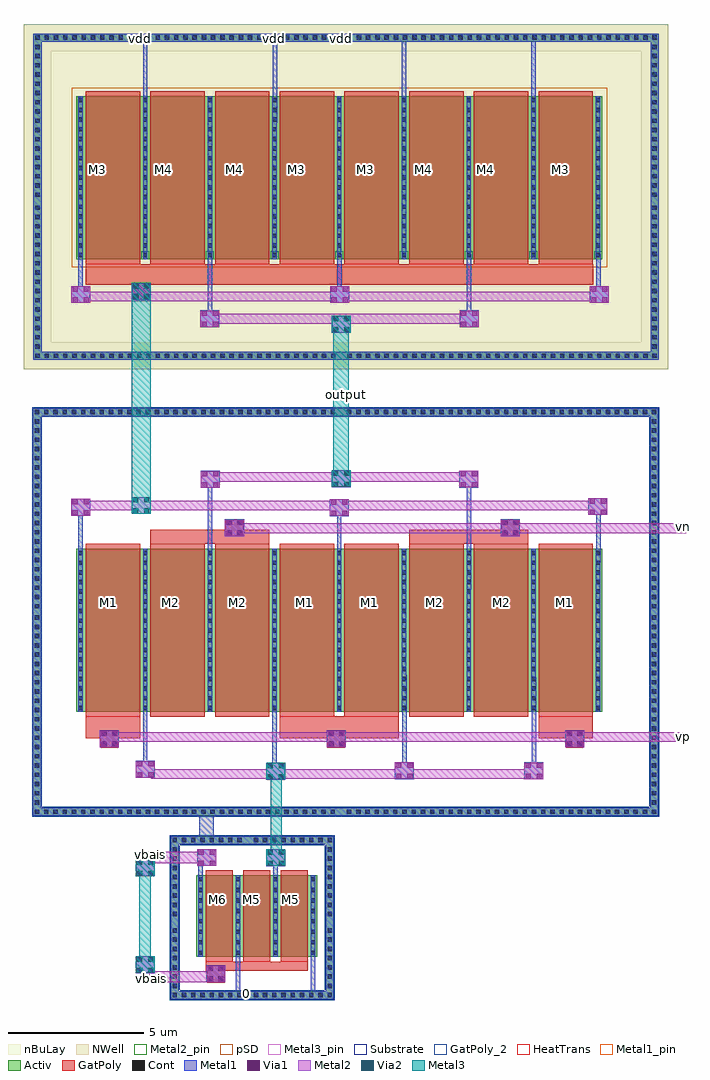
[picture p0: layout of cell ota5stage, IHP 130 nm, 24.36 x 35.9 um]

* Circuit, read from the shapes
.subckt ota5stage 0 output vbais vdd vn vp
XM1 n1 vp n2 0 sg13_lv_nmos w=6u l=2u m=4
XM2 output vn n1 0 sg13_lv_nmos w=6u l=2u m=4
XM3 0 vbais vbais 0 sg13_lv_nmos w=3u l=1u
XM4 n1 vbais 0 0 sg13_lv_nmos w=3u l=1u m=2
XM5 vdd n2 n2 vdd sg13_lv_pmos w=6u l=2u m=4
XM6 output n2 vdd vdd sg13_lv_pmos w=6u l=2u m=4
.ends

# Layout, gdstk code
import gdstk
lib = gdstk.Library(unit=1e-6, precision=1e-09)
def R(c, l, rs):  # rectangles x0, y0, x1, y1
    for r in rs: c.add(gdstk.rectangle(r[:2], r[2:], *l))
def A(c, l, x, y, w, h, nx, ny, dx, dy):  # array of equal rectangles
    R(c, l, [(x+i*dx, y+j*dy, x+i*dx+w, y+j*dy+h) for i in range(nx) for j in range(ny)])
def P(c, l, *ps):  # polygons
    for p in ps: c.add(gdstk.Polygon(p, *l))
Activ = (1, 0)
GatPoly = (5, 0)
GatPoly_2 = (5, 2)
Cont = (6, 0)
Metal1 = (8, 0)
Metal1_pin = (8, 2)
Metal2 = (10, 0)
Metal2_pin = (10, 2)
pSD = (14, 0)
Via1 = (19, 0)
Via2 = (29, 0)
Metal3 = (30, 0)
Metal3_pin = (30, 2)
NWell = (31, 0)
nBuLay = (32, 0)
Substrate = (40, 0)
HeatTrans = (51, 0)

pmos = lib.new_cell('pmos')
R(pmos, Activ, [(0,0,0.3,0.3), (0,0,2.68,6), (2.38,0,2.68,0.3)])
R(pmos, GatPoly, [(0.34,-0.18,2.34,6.18), (0.34,-0.18,2.34,6.18)])
A(pmos, Cont, 0.07, 0.07, 0.16, 0.16, 1, 4, 0, 0.355)
A(pmos, Cont, 2.45, 0.07, 0.16, 0.16, 1, 4, 0, 0.355)
A(pmos, Cont, 0.07, 1.495, 0.16, 0.16, 1, 4, 0, 0.355)
A(pmos, Cont, 2.45, 1.495, 0.16, 0.16, 1, 4, 0, 0.355)
A(pmos, Cont, 0.07, 2.92, 0.16, 0.16, 1, 4, 0, 0.355)
A(pmos, Cont, 2.45, 2.92, 0.16, 0.16, 1, 4, 0, 0.355)
A(pmos, Cont, 0.07, 4.345, 0.16, 0.16, 1, 4, 0, 0.355)
A(pmos, Cont, 2.45, 4.345, 0.16, 0.16, 1, 4, 0, 0.355)
R(pmos, Cont, [(0.07,5.77,0.23,5.93), (2.45,5.77,2.61,5.93)])
R(pmos, Metal1, [(0.07,0,0.23,6), (0.07,0,0.23,6), (2.45,0,2.61,6), (2.45,0,2.61,6)])
R(pmos, pSD, [(-0.18,-0.3,2.86,6.3)])
R(pmos, NWell, [(-0.31,-0.31,2.99,6.31)])
R(pmos, Substrate, [(2.38,0,2.68,0.3)])
R(pmos, HeatTrans, [(0.34,-0.18,2.34,6.18)])
pmos.add(gdstk.Label('pmos', (1.34,3), layer=63, texttype=0))
pmos.add(gdstk.Label('pmos', (1.34,3), layer=51, texttype=0))

guard_ring_2 = lib.new_cell('guard_ring$2')
R(guard_ring_2, Activ, [(-11.5,-5.7,-11.2,5.7), (11.2,-5.7,11.5,5.7), (-11.5,5.7,11.5,6)])
P(guard_ring_2, Activ, [(-11.5,-6),(-11.5,5.7),(-11.2,5.7),(-11.2,-5.7),(11.2,-5.7),(11.2,5.7),(-11.5,5.7),(-11.5,6),(11.5,6),(11.5,-6)])
A(guard_ring_2, Cont, -11.43, -5.93, 0.16, 0.16, 33, 2, 0.34, 11.7)
A(guard_ring_2, Cont, 0.05, -5.93, 0.16, 0.16, 34, 2, 0.34, 11.7)
A(guard_ring_2, Cont, -11.43, -5.59, 0.16, 0.16, 1, 16, 0, 0.34)
A(guard_ring_2, Cont, 11.27, -5.59, 0.16, 0.16, 1, 16, 0, 0.34)
A(guard_ring_2, Cont, -11.43, -0.01, 0.16, 0.16, 1, 17, 0, 0.34)
A(guard_ring_2, Cont, 11.27, -0.01, 0.16, 0.16, 1, 17, 0, 0.34)
R(guard_ring_2, Metal1, [(-11.5,-6,11.5,-5.7), (-11.5,-5.7,-11.2,5.7), (11.2,-5.7,11.5,5.7), (-11.5,5.7,11.5,6)])
R(guard_ring_2, NWell, [(-11.85,-6.35,11.85,6.35)])
R(guard_ring_2, nBuLay, [(-11.85,-5.35,-10.85,5.35), (10.85,-5.35,11.85,5.35), (-11.85,5.35,11.85,6.35)])
P(guard_ring_2, nBuLay, [(-11.85,-6.35),(-11.85,5.35),(-10.85,5.35),(-10.85,-5.35),(10.85,-5.35),(10.85,5.35),(-11.85,5.35),(-11.85,6.35),(11.85,6.35),(11.85,-6.35)])
guard_ring_2.add(gdstk.Label('well', (0,-5.85), layer=63, texttype=0))

via_stack = lib.new_cell('via_stack')
R(via_stack, Metal1, [(-0.35,-0.31,0.35,0.31)])
R(via_stack, Metal2, [(-0.35,-0.305,0.35,0.305)])
R(via_stack, Via1, [(-0.3,-0.3,-0.11,-0.11), (0.11,-0.3,0.3,-0.11), (-0.3,0.11,-0.11,0.3), (0.11,0.11,0.3,0.3)])

nmos = lib.new_cell('nmos')
R(nmos, Activ, [(0,0,0.3,0.3), (0,0,2.68,6), (2.38,0,2.68,0.3)])
R(nmos, GatPoly, [(0.34,-0.18,2.34,6.18)])
R(nmos, GatPoly_2, [(0.34,-0.18,2.34,6.18)])
A(nmos, Cont, 0.07, 0.07, 0.16, 0.16, 1, 4, 0, 0.355)
A(nmos, Cont, 2.45, 0.07, 0.16, 0.16, 1, 4, 0, 0.355)
A(nmos, Cont, 0.07, 1.495, 0.16, 0.16, 1, 4, 0, 0.355)
A(nmos, Cont, 2.45, 1.495, 0.16, 0.16, 1, 4, 0, 0.355)
A(nmos, Cont, 0.07, 2.92, 0.16, 0.16, 1, 4, 0, 0.355)
A(nmos, Cont, 2.45, 2.92, 0.16, 0.16, 1, 4, 0, 0.355)
A(nmos, Cont, 0.07, 4.345, 0.16, 0.16, 1, 4, 0, 0.355)
A(nmos, Cont, 2.45, 4.345, 0.16, 0.16, 1, 4, 0, 0.355)
R(nmos, Cont, [(0.07,5.77,0.23,5.93), (2.45,5.77,2.61,5.93)])
R(nmos, Metal1, [(0.07,0,0.23,6), (2.45,0,2.61,6)])
R(nmos, Metal1_pin, [(0.07,0,0.23,6), (2.45,0,2.61,6)])
R(nmos, HeatTrans, [(0.34,-0.18,2.34,6.18)])
nmos.add(gdstk.Label('nmos', (1.34,3), layer=63, texttype=0))
nmos.add(gdstk.Label('nmos', (1.34,3), layer=51, texttype=0))

via_stack_1 = lib.new_cell('via_stack$1')
R(via_stack_1, Metal1, [(-0.35,-0.31,0.35,0.31)])
R(via_stack_1, Metal2, [(-0.35,-0.305,0.35,0.305)])
R(via_stack_1, Via1, [(-0.3,-0.3,-0.11,-0.11), (0.11,-0.3,0.3,-0.11), (-0.3,0.11,-0.11,0.3), (0.11,0.11,0.3,0.3)])
R(via_stack_1, Via2, [(-0.3,-0.3,-0.11,-0.11), (0.11,-0.3,0.3,-0.11), (-0.3,0.11,-0.11,0.3), (0.11,0.11,0.3,0.3)])
R(via_stack_1, Metal3, [(-0.35,-0.305,0.35,0.305)])

via_stack_3 = lib.new_cell('via_stack$3')
R(via_stack_3, GatPoly, [(-0.32,-0.32,0.32,0.32)])
R(via_stack_3, Cont, [(-0.25,-0.25,-0.09,-0.09), (0.09,-0.25,0.25,-0.09), (-0.25,0.09,-0.09,0.25), (0.09,0.09,0.25,0.25)])
R(via_stack_3, Metal1, [(-0.35,-0.31,0.35,0.31)])
R(via_stack_3, Metal2, [(-0.35,-0.305,0.35,0.305)])
R(via_stack_3, Via1, [(-0.3,-0.3,-0.11,-0.11), (0.11,-0.3,0.3,-0.11), (-0.3,0.11,-0.11,0.3), (0.11,0.11,0.3,0.3)])

nmos_2 = lib.new_cell('nmos$2')
R(nmos_2, Activ, [(0,0,0.3,0.3), (0,0,1.68,3), (1.38,0,1.68,0.3)])
R(nmos_2, GatPoly, [(0.34,-0.18,1.34,3.18)])
R(nmos_2, GatPoly_2, [(0.34,-0.18,1.34,3.18)])
A(nmos_2, Cont, 0.07, 0.07, 0.16, 0.16, 1, 7, 0, 0.385)
A(nmos_2, Cont, 1.45, 0.07, 0.16, 0.16, 1, 7, 0, 0.385)
R(nmos_2, Cont, [(0.07,2.77,0.23,2.93), (1.45,2.77,1.61,2.93)])
R(nmos_2, Metal1, [(0.07,0,0.23,3), (1.45,0,1.61,3)])
R(nmos_2, Metal1_pin, [(0.07,0,0.23,3), (1.45,0,1.61,3)])
R(nmos_2, HeatTrans, [(0.34,-0.18,1.34,3.18)])
nmos_2.add(gdstk.Label('nmos', (0.84,1.5), layer=63, texttype=0))
nmos_2.add(gdstk.Label('nmos', (0.84,1.5), layer=51, texttype=0))

guard_ring = lib.new_cell('guard_ring')
R(guard_ring, Activ, [(-3,-2.7,-2.7,2.7), (2.7,-2.7,3,2.7), (-3,2.7,3,3)])
P(guard_ring, Activ, [(-3,-3),(-3,2.7),(-2.7,2.7),(-2.7,-2.7),(2.7,-2.7),(2.7,2.7),(-3,2.7),(-3,3),(3,3),(3,-3)])
A(guard_ring, Cont, -2.93, -2.93, 0.16, 0.16, 8, 2, 0.34, 5.7)
A(guard_ring, Cont, 0.05, -2.93, 0.16, 0.16, 9, 2, 0.34, 5.7)
A(guard_ring, Cont, -2.93, -2.59, 0.16, 0.16, 1, 7, 0, 0.34)
A(guard_ring, Cont, 2.77, -2.59, 0.16, 0.16, 1, 7, 0, 0.34)
A(guard_ring, Cont, -2.93, 0.05, 0.16, 0.16, 1, 8, 0, 0.34)
A(guard_ring, Cont, 2.77, 0.05, 0.16, 0.16, 1, 8, 0, 0.34)
R(guard_ring, Metal1, [(-3,-3,3,-2.7), (-3,-2.7,-2.7,2.7), (2.7,-2.7,3,2.7), (-3,2.7,3,3)])
R(guard_ring, pSD, [(-3.03,-2.67,-2.67,2.67), (2.67,-2.67,3.03,2.67), (-3.03,2.67,3.03,3.03)])
P(guard_ring, pSD, [(-3.03,-3.03),(-3.03,2.67),(-2.67,2.67),(-2.67,-2.67),(2.67,-2.67),(2.67,2.67),(-3.03,2.67),(-3.03,3.03),(3.03,3.03),(3.03,-3.03)])
R(guard_ring, Substrate, [(-3.03,-2.67,-2.67,2.67), (2.67,-2.67,3.03,2.67), (-3.03,2.67,3.03,3.03)])
P(guard_ring, Substrate, [(-3.03,-3.03),(-3.03,2.67),(-2.67,2.67),(-2.67,-2.67),(2.67,-2.67),(2.67,2.67),(-3.03,2.67),(-3.03,3.03),(3.03,3.03),(3.03,-3.03)])
guard_ring.add(gdstk.Label('sub!', (0,-2.85), layer=63, texttype=0))

via_stack_2 = lib.new_cell('via_stack$2')
R(via_stack_2, Metal2, [(-0.35,-0.305,0.35,0.305)])
R(via_stack_2, Via2, [(-0.3,-0.3,-0.11,-0.11), (0.11,-0.3,0.3,-0.11), (-0.3,0.11,-0.11,0.3), (0.11,0.11,0.3,0.3)])
R(via_stack_2, Metal3, [(-0.35,-0.305,0.35,0.305)])

guard_ring_3 = lib.new_cell('guard_ring$3')
R(guard_ring_3, Activ, [(-11.5,-7.2,-11.2,7.2), (11.2,-7.2,11.5,7.2), (-11.5,7.2,11.5,7.5)])
P(guard_ring_3, Activ, [(-11.5,-7.5),(-11.5,7.2),(-11.2,7.2),(-11.2,-7.2),(11.2,-7.2),(11.2,7.2),(-11.5,7.2),(-11.5,7.5),(11.5,7.5),(11.5,-7.5)])
A(guard_ring_3, Cont, -11.43, -7.43, 0.16, 0.16, 33, 2, 0.34, 14.7)
A(guard_ring_3, Cont, 0.05, -7.43, 0.16, 0.16, 34, 2, 0.34, 14.7)
A(guard_ring_3, Cont, -11.43, -7.09, 0.16, 0.16, 1, 21, 0, 0.34)
A(guard_ring_3, Cont, 11.27, -7.09, 0.16, 0.16, 1, 21, 0, 0.34)
A(guard_ring_3, Cont, -11.43, 0.13, 0.16, 0.16, 1, 21, 0, 0.34)
A(guard_ring_3, Cont, 11.27, 0.13, 0.16, 0.16, 1, 21, 0, 0.34)
R(guard_ring_3, Metal1, [(-11.5,-7.5,11.5,-7.2), (-11.5,-7.2,-11.2,7.2), (11.2,-7.2,11.5,7.2), (-11.5,7.2,11.5,7.5)])
R(guard_ring_3, pSD, [(-11.53,-7.17,-11.17,7.17), (11.17,-7.17,11.53,7.17), (-11.53,7.17,11.53,7.53)])
P(guard_ring_3, pSD, [(-11.53,-7.53),(-11.53,7.17),(-11.17,7.17),(-11.17,-7.17),(11.17,-7.17),(11.17,7.17),(-11.53,7.17),(-11.53,7.53),(11.53,7.53),(11.53,-7.53)])
R(guard_ring_3, Substrate, [(-11.53,-7.17,-11.17,7.17), (11.17,-7.17,11.53,7.17), (-11.53,7.17,11.53,7.53)])
P(guard_ring_3, Substrate, [(-11.53,-7.53),(-11.53,7.17),(-11.17,7.17),(-11.17,-7.17),(11.17,-7.17),(11.17,7.17),(-11.53,7.17),(-11.53,7.53),(11.53,7.53),(11.53,-7.53)])
guard_ring_3.add(gdstk.Label('sub!', (0,-7.35), layer=63, texttype=0))

ota5stage = lib.new_cell('ota5stage')
R(ota5stage, GatPoly, [(4.75,-25.77,8.51,-25.435), (7.48,-17.22,11.86,-16.405), (0.34,-17.215,2.34,-16.41), (17.005,-17.215,19,-16.41), (2.72,-10.075,7.1,-9.555), (12.24,-10.075,16.62,-9.555), (2.04,-1.065,2.74,-0.47)])
P(ota5stage, GatPoly, [(0.34,-0.535),(0.34,0.22),(1.18,0.22),(19.02,0.22),(19.02,-0.535)])
A(ota5stage, Metal1, 0.07, -0.68, 0.16, 1.265, 3, 1, 9.53, 0)
R(ota5stage, Metal1, [(3.77,-26.82,9.17,-26.52), (8.62,-26.695,8.78,-24.81), (5.86,-26.685,6.02,-24.95), (4.48,-23.44,4.64,-21.5), (7.24,-23.135,7.4,-21.535), (4.52,-21.05,5.06,-19.88), (2.45,-18.5,2.615,-14.635), (7.21,-18.5,7.375,-14.415), (11.98,-18.425,12.145,-14.885), (16.745,-18.425,16.91,-14.985), (14.365,-11.755,14.525,-7.615), (4.835,-11.71,4.995,-7.945), (9.59,-11.71,9.75,-8.945), (19.13,-10.755,19.29,-8.915), (0.07,-10.565,0.23,-8.91), (14.365,-1.77,14.525,0.585), (4.835,-1.71,4.995,0.585), (16.73,5.22,16.895,8.54), (11.97,5.385,12.13,8.685), (7.215,5.41,7.38,8.61), (2.45,5.615,2.61,8.55), (-1.55,8.4,20.925,8.7)])
R(ota5stage, Metal1_pin, [(6.185,-26.67,6.315,-26.54), (9.685,8.46,9.815,8.59)])
R(ota5stage, Metal2, [(2.68,-26.195,5.04,-25.8), (2.6,-21.815,4.9,-21.405), (2.745,-18.72,16.62,-18.365), (0.905,-17.35,22.425,-16.995), (5.815,-9.675,22.425,-9.32), (-0.05,-8.835,19.385,-8.48), (5.035,-7.785,14.435,-7.43), (5.21,-1.97,14.23,-1.615), (-0.045,-1.145,19.37,-0.79)])
R(ota5stage, Metal2_pin, [(2.685,-26.115,2.815,-25.985), (2.655,-21.58,2.785,-21.45), (22.27,-17.225,22.4,-17.095), (22.28,-9.49,22.41,-9.36)])
R(ota5stage, Metal3, [(2.32,-25.54,2.73,-22.095), (7.145,-21.345,7.555,-18.655), (2.035,-8.41,2.735,-0.935), (9.445,-7.385,10.02,-2.065)])
R(ota5stage, Metal3_pin, [(9.88,-4.65,10.01,-4.52)])
ota5stage.add(gdstk.Reference(pmos, (0,0.4)))
ota5stage.add(gdstk.Reference(pmos, (2.38,0.4)))
ota5stage.add(gdstk.Reference(pmos, (4.76,0.4)))
ota5stage.add(gdstk.Reference(pmos, (7.14,0.4)))
ota5stage.add(gdstk.Reference(pmos, (9.52,0.4)))
ota5stage.add(gdstk.Reference(pmos, (11.9,0.4)))
ota5stage.add(gdstk.Reference(pmos, (14.28,0.4)))
ota5stage.add(gdstk.Reference(pmos, (16.66,0.4)))
ota5stage.add(gdstk.Reference(guard_ring_2, (9.92,2.7)))
ota5stage.add(gdstk.Reference(via_stack, (0.16,-0.9)))
ota5stage.add(gdstk.Reference(via_stack, (9.68,-0.9)))
ota5stage.add(gdstk.Reference(via_stack, (19.23,-0.9)))
ota5stage.add(gdstk.Reference(via_stack, (4.91,-1.795)))
ota5stage.add(gdstk.Reference(via_stack, (14.445,-1.795)))
ota5stage.add(gdstk.Reference(nmos, (0,-16.255)))
ota5stage.add(gdstk.Reference(nmos, (2.38,-16.255)))
ota5stage.add(gdstk.Reference(nmos, (4.76,-16.255)))
ota5stage.add(gdstk.Reference(nmos, (7.14,-16.255)))
ota5stage.add(gdstk.Reference(nmos, (9.52,-16.255)))
ota5stage.add(gdstk.Reference(nmos, (11.9,-16.255)))
ota5stage.add(gdstk.Reference(nmos, (14.28,-16.255)))
ota5stage.add(gdstk.Reference(nmos, (16.66,-16.255)))
ota5stage.add(gdstk.Reference(via_stack, (0.155,-8.725)))
ota5stage.add(gdstk.Reference(via_stack, (9.67,-8.74)))
ota5stage.add(gdstk.Reference(via_stack, (19.18,-8.7)))
ota5stage.add(gdstk.Reference(via_stack, (4.925,-7.7)))
ota5stage.add(gdstk.Reference(via_stack, (14.435,-7.69)))
ota5stage.add(gdstk.Reference(via_stack_1, (9.745,-1.995)))
ota5stage.add(gdstk.Reference(via_stack_1, (9.745,-7.675)))
ota5stage.add(gdstk.Reference(via_stack_3, (2.385,-0.775)))
ota5stage.add(gdstk.Reference(via_stack_1, (2.525,-25.55)))
ota5stage.add(gdstk.Reference(via_stack_1, (2.525,-21.985)))
ota5stage.add(gdstk.Reference(via_stack_3, (5.13,-25.89)))
ota5stage.add(gdstk.Reference(via_stack, (4.79,-21.61)))
ota5stage.add(gdstk.Reference(via_stack_1, (7.335,-21.615)))
ota5stage.add(gdstk.Reference(nmos_2, (7.17,-25.26)))
ota5stage.add(gdstk.Reference(nmos_2, (4.41,-25.26)))
ota5stage.add(gdstk.Reference(guard_ring, (6.47,-23.82)))
ota5stage.add(gdstk.Reference(nmos_2, (5.79,-25.26)))
ota5stage.add(gdstk.Reference(via_stack_2, (2.385,-0.775)))
ota5stage.add(gdstk.Reference(via_stack_2, (2.385,-8.66)))
ota5stage.add(gdstk.Reference(guard_ring_3, (9.9,-12.575)))
ota5stage.add(gdstk.Reference(via_stack_3, (1.21,-17.245)))
ota5stage.add(gdstk.Reference(via_stack_3, (9.555,-17.245)))
ota5stage.add(gdstk.Reference(via_stack_3, (18.33,-17.245)))
ota5stage.add(gdstk.Reference(via_stack_3, (5.815,-9.485)))
ota5stage.add(gdstk.Reference(via_stack_3, (15.96,-9.485)))
ota5stage.add(gdstk.Reference(via_stack, (2.54,-18.365)))
ota5stage.add(gdstk.Reference(via_stack, (7.335,-18.43)))
ota5stage.add(gdstk.Reference(via_stack, (12.065,-18.415)))
ota5stage.add(gdstk.Reference(via_stack, (16.825,-18.42)))
ota5stage.add(gdstk.Reference(via_stack_1, (7.335,-18.43)))
ota5stage.add(gdstk.Label('M5', (6.455,-23.15), layer=63, texttype=0))
ota5stage.add(gdstk.Label('M6', (5.195,-23.15), layer=63, texttype=0))
ota5stage.add(gdstk.Label('M5', (7.89,-23.15), layer=63, texttype=0))
ota5stage.add(gdstk.Label('M1', (1.19,-12.23), layer=63, texttype=0))
ota5stage.add(gdstk.Label('M2', (3.445,-12.23), layer=63, texttype=0))
ota5stage.add(gdstk.Label('M2', (5.91,-12.23), layer=63, texttype=0))
ota5stage.add(gdstk.Label('M1', (8.395,-12.23), layer=63, texttype=0))
ota5stage.add(gdstk.Label('M1', (10.765,-12.23), layer=63, texttype=0))
ota5stage.add(gdstk.Label('M2', (13.165,-12.23), layer=63, texttype=0))
ota5stage.add(gdstk.Label('M2', (15.62,-12.23), layer=63, texttype=0))
ota5stage.add(gdstk.Label('M1', (17.95,-12.23), layer=63, texttype=0))
ota5stage.add(gdstk.Label('M3', (0.78,3.695), layer=63, texttype=0))
ota5stage.add(gdstk.Label('M4', (3.215,3.695), layer=63, texttype=0))
ota5stage.add(gdstk.Label('M4', (5.805,3.695), layer=63, texttype=0))
ota5stage.add(gdstk.Label('M3', (8.1,3.695), layer=63, texttype=0))
ota5stage.add(gdstk.Label('M3', (10.62,3.695), layer=63, texttype=0))
ota5stage.add(gdstk.Label('M4', (12.77,3.695), layer=63, texttype=0))
ota5stage.add(gdstk.Label('M4', (15.06,3.695), layer=63, texttype=0))
ota5stage.add(gdstk.Label('M3', (17.81,3.695), layer=63, texttype=0))
ota5stage.add(gdstk.Label('vbais', (2.75,-26.05), layer=10, texttype=25))
ota5stage.add(gdstk.Label('vbais', (2.72,-21.515), layer=10, texttype=25))
ota5stage.add(gdstk.Label('vp', (22.335,-17.16), layer=10, texttype=25))
ota5stage.add(gdstk.Label('vn', (22.345,-9.425), layer=10, texttype=25))
ota5stage.add(gdstk.Label('0', (6.25,-26.605), layer=8, texttype=25))
ota5stage.add(gdstk.Label('vdd', (7.275,8.525), layer=8, texttype=25))
ota5stage.add(gdstk.Label('vdd', (2.375,8.525), layer=8, texttype=25))
ota5stage.add(gdstk.Label('vdd', (9.75,8.525), layer=8, texttype=25))
ota5stage.add(gdstk.Label('output', (9.945,-4.585), layer=30, texttype=25))

lib.write_gds('ota5stage.gds')
